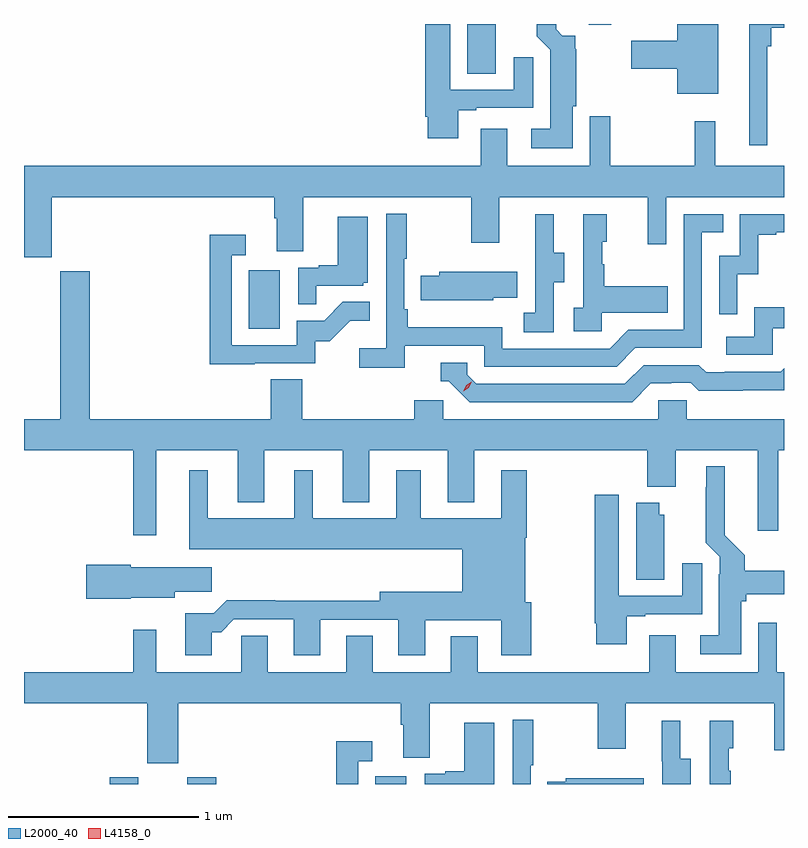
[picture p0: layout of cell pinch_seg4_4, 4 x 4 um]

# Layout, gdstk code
import gdstk
lib = gdstk.Library(unit=1e-6, precision=1e-09)
def R(c, l, rs):  # rectangles x0, y0, x1, y1
    for r in rs: c.add(gdstk.rectangle(r[:2], r[2:], *l))
def P(c, l, *ps):  # polygons
    for p in ps: c.add(gdstk.Polygon(p, *l))
L2000_40 = (2000, 40)
L4158_0 = (4158, 0)

pinch_seg4_4 = lib.new_cell('pinch_seg4_4')
R(pinch_seg4_4, L2000_40, [(1083.002,824.367,1083.154,824.403), (1083.41,824.367,1083.563,824.403), (1084.4,824.367,1084.564,824.407), (1083.734,826.764,1083.898,827.071), (1084.886,828.106,1085.035,828.367), (1085.525,828.363,1085.643,828.367)])
P(pinch_seg4_4, L2000_40, [(1086.465,828.251),(1086.485,828.251),(1086.485,828.347),(1086.552,828.347),(1086.552,828.367),(1086.368,828.367),(1086.368,827.73),(1086.465,827.73)],
  [(1084.837,827.913),(1084.933,827.913),(1084.933,827.925),(1085.233,827.925),(1085.233,828.193),(1085.129,828.193),(1085.129,828.021),(1084.795,828.021),(1084.795,828.367),(1084.664,828.367),(1084.664,827.878),(1084.676,827.878),(1084.676,827.766),(1084.837,827.766)],
  [(1086.205,828.367),(1085.99,828.367),(1085.99,828.278),(1085.748,828.278),(1085.748,828.131),(1085.99,828.131),(1085.99,827.999),(1086.205,827.999)],
  [(1085.44,827.934),(1085.458,827.934),(1085.458,828.233),(1085.452,828.239),(1085.452,828.306),(1085.386,828.306),(1085.353,828.34),(1085.353,828.367),(1085.251,828.367),(1085.251,828.302),(1085.321,828.232),(1085.321,827.815),(1085.223,827.815),(1085.223,827.714),(1085.44,827.714)],
  [(1082.698,827.456),(1083.869,827.456),(1083.869,827.344),(1083.881,827.344),(1083.881,827.17),(1084.021,827.17),(1084.021,827.456),(1084.906,827.456),(1084.906,827.217),(1085.053,827.217),(1085.053,827.456),(1085.834,827.456),(1085.834,827.208),(1085.931,827.208),(1085.931,827.456),(1086.552,827.456),(1086.552,827.62),(1086.191,827.62),(1086.191,827.854),(1086.081,827.854),(1086.081,827.62),(1085.638,827.62),(1085.638,827.881),(1085.529,827.881),(1085.529,827.62),(1085.095,827.62),(1085.095,827.815),(1084.955,827.815),(1084.955,827.62),(1082.552,827.62),(1082.552,827.139),(1082.698,827.139)],
  [(1084.556,826.674),(1084.974,826.674),(1084.974,826.563),(1085.671,826.563),(1085.77,826.662),(1086.12,826.662),(1086.12,827.271),(1086.233,827.271),(1086.233,827.367),(1086.024,827.367),(1086.024,826.758),(1085.733,826.758),(1085.634,826.659),(1085.07,826.659),(1085.07,826.771),(1084.573,826.771),(1084.573,826.867),(1084.554,826.867),(1084.554,827.131),(1084.567,827.131),(1084.567,827.368),(1084.458,827.368),(1084.458,826.66),(1084.317,826.66),(1084.317,826.558),(1084.556,826.558)],
  [(1086.306,827.051),(1086.416,827.051),(1086.416,827.259),(1086.511,827.259),(1086.511,827.271),(1086.552,827.271),(1086.552,827.367),(1086.318,827.367),(1086.318,827.148),(1086.21,827.148),(1086.21,826.839),(1086.306,826.839)],
  [(1085.592,826.847),(1085.939,826.847),(1085.939,826.987),(1085.605,826.987),(1085.605,827.102),(1085.595,827.102),(1085.595,827.22),(1085.62,827.22),(1085.62,827.365),(1085.496,827.365),(1085.496,826.874),(1085.445,826.874),(1085.445,826.749),(1085.592,826.749)],
  [(1085.34,827.008),(1085.395,827.008),(1085.395,827.163),(1085.341,827.163),(1085.341,827.365),(1085.243,827.365),(1085.243,827.151),(1085.244,827.151),(1085.244,826.847),(1085.181,826.847),(1085.181,826.744),(1085.34,826.744)],
  [(1084.091,826.989),(1084.338,826.989),(1084.338,827.004),(1084.36,827.004),(1084.36,827.353),(1084.202,827.353),(1084.202,827.098),(1084.103,827.098),(1084.103,827.085),(1083.996,827.085),(1083.996,826.891),(1084.091,826.891)],
  [(1083.767,826.581),(1084.086,826.581),(1084.086,826.698),(1084.162,826.698),(1084.269,826.805),(1084.373,826.805),(1084.373,826.904),(1084.229,826.904),(1084.131,826.806),(1083.987,826.806),(1083.987,826.677),(1083.645,826.677),(1083.645,827.151),(1083.718,827.151),(1083.718,827.257),(1083.529,827.257),(1083.529,826.576),(1083.767,826.576)],
  [(1083.247,826.124),(1083.677,826.124),(1083.677,825.851),(1083.817,825.851),(1083.817,826.124),(1084.229,826.124),(1084.229,825.851),(1084.369,825.851),(1084.369,826.124),(1084.781,826.124),(1084.781,825.851),(1084.921,825.851),(1084.921,826.124),(1085.831,826.124),(1085.831,825.932),(1085.983,825.932),(1085.983,826.124),(1086.413,826.124),(1086.413,825.699),(1086.523,825.699),(1086.523,826.124),(1086.552,826.124),(1086.552,826.288),(1086.039,826.288),(1086.039,826.386),(1085.889,826.386),(1085.889,826.288),(1084.758,826.288),(1084.758,826.386),(1084.607,826.386),(1084.607,826.288),(1084.016,826.288),(1084.016,826.496),(1083.851,826.496),(1083.851,826.288),(1082.897,826.288),(1082.897,827.067),(1082.744,827.067),(1082.744,826.288),(1082.552,826.288),(1082.552,826.124),(1083.126,826.124),(1083.126,825.675),(1083.247,825.675)],
  [(1085.022,826.925),(1085.147,826.925),(1085.147,827.062),(1084.737,827.062),(1084.737,827.043),(1084.639,827.043),(1084.639,826.913),(1085.022,826.913)],
  [(1086.492,826.767),(1086.552,826.767),(1086.552,826.876),(1086.396,826.876),(1086.396,826.722),(1086.249,826.722),(1086.249,826.626),(1086.492,826.626)],
  [(1085.851,826.476),(1085.958,826.476),(1085.958,826.479),(1086.061,826.479),(1086.103,826.437),(1086.336,826.437),(1086.336,826.439),(1086.552,826.439),(1086.552,826.554),(1086.534,826.536),(1086.241,826.536),(1086.241,826.533),(1086.142,826.533),(1086.103,826.572),(1085.814,826.572),(1085.715,826.473),(1084.932,826.473),(1084.884,826.521),(1084.884,826.584),(1084.745,826.584),(1084.745,826.488),(1084.788,826.488),(1084.899,826.377),(1085.752,826.377)],
  [(1086.328,825.33),(1086.354,825.33),(1086.354,825.365),(1086.552,825.365),(1086.552,825.49),(1086.346,825.49),(1086.346,825.57),(1086.241,825.676),(1086.241,826.039),(1086.143,826.039),(1086.143,825.929),(1086.139,825.929),(1086.139,825.638),(1086.213,825.564),(1086.213,825.47),(1086.209,825.47),(1086.209,825.151),(1086.111,825.151),(1086.111,825.05),(1086.328,825.05)],
  [(1083.541,825.167),(1083.59,825.167),(1083.657,825.234),(1083.971,825.234),(1083.971,825.045),(1084.111,825.045),(1084.111,825.231),(1084.523,825.231),(1084.523,825.045),(1084.663,825.045),(1084.663,825.23),(1085.063,825.23),(1085.063,825.045),(1085.223,825.045),(1085.223,825.324),(1085.191,825.324),(1085.191,825.662),(1085.199,825.662),(1085.199,826.018),(1085.063,826.018),(1085.063,825.766),(1084.639,825.766),(1084.639,826.018),(1084.511,826.018),(1084.511,825.766),(1084.072,825.766),(1084.072,826.018),(1083.974,826.018),(1083.974,825.766),(1083.52,825.766),(1083.52,826.018),(1083.422,826.018),(1083.422,825.602),(1084.859,825.602),(1084.859,825.379),(1084.424,825.379),(1084.424,825.332),(1083.875,825.332),(1083.875,825.335),(1083.62,825.335),(1083.55,825.265),(1083.401,825.265),(1083.401,825.045),(1083.541,825.045)],
  [(1085.725,825.249),(1085.821,825.249),(1085.821,825.261),(1086.121,825.261),(1086.121,825.529),(1086.017,825.529),(1086.017,825.357),(1085.683,825.357),(1085.683,825.889),(1085.557,825.889),(1085.557,825.214),(1085.564,825.214),(1085.564,825.102),(1085.725,825.102)],
  [(1085.923,825.783),(1085.896,825.783),(1085.896,825.847),(1085.774,825.847),(1085.774,825.442),(1085.923,825.442)],
  [(1083.114,825.347),(1083.346,825.347),(1083.346,825.379),(1083.541,825.379),(1083.541,825.508),(1083.114,825.508),(1083.114,825.521),(1082.88,825.521),(1082.88,825.343),(1083.114,825.343)],
  [(1083.364,824.792),(1084.535,824.792),(1084.535,824.68),(1084.547,824.68),(1084.547,824.506),(1084.687,824.506),(1084.687,824.792),(1085.572,824.792),(1085.572,824.553),(1085.719,824.553),(1085.719,824.792),(1086.5,824.792),(1086.5,824.544),(1086.552,824.544),(1086.552,824.956),(1086.515,824.956),(1086.515,825.217),(1086.417,825.217),(1086.417,824.956),(1085.983,824.956),(1085.983,825.151),(1085.843,825.151),(1085.843,824.956),(1084.939,824.956),(1084.939,825.145),(1084.799,825.145),(1084.799,824.956),(1084.387,824.956),(1084.387,825.146),(1084.247,825.146),(1084.247,824.956),(1083.835,824.956),(1083.835,825.146),(1083.696,825.146),(1083.696,824.956),(1083.247,824.956),(1083.247,825.178),(1083.126,825.178),(1083.126,824.956),(1082.552,824.956),(1082.552,824.792),(1083.2,824.792),(1083.2,824.475),(1083.364,824.475)],
  [(1085.22,824.467),(1085.233,824.467),(1085.233,824.704),(1085.124,824.704),(1085.124,824.367),(1085.22,824.367)],
  [(1086.061,824.499),(1086.007,824.499),(1086.007,824.701),(1085.909,824.701),(1085.909,824.487),(1085.91,824.487),(1085.91,824.367),(1086.061,824.367)],
  [(1086.271,824.438),(1086.261,824.438),(1086.261,824.556),(1086.286,824.556),(1086.286,824.701),(1086.162,824.701),(1086.162,824.367),(1086.271,824.367)],
  [(1085.026,824.689),(1084.868,824.689),(1084.868,824.434),(1084.769,824.434),(1084.769,824.421),(1084.662,824.421),(1084.662,824.367),(1085.026,824.367)],
  [(1084.311,824.487),(1084.384,824.487),(1084.384,824.593),(1084.195,824.593),(1084.195,824.367),(1084.311,824.367)],
  [(1085.813,824.398),(1085.403,824.398),(1085.403,824.379),(1085.305,824.379),(1085.305,824.367),(1085.813,824.367)])
P(pinch_seg4_4, L4158_0, [(1084.863,826.433),(1084.863,826.433),(1084.879,826.466),(1084.909,826.485),(1084.909,826.485),(1084.909,826.485),(1084.894,826.453),(1084.864,826.433)])

lib.write_gds('pinch_seg4_4.gds')
